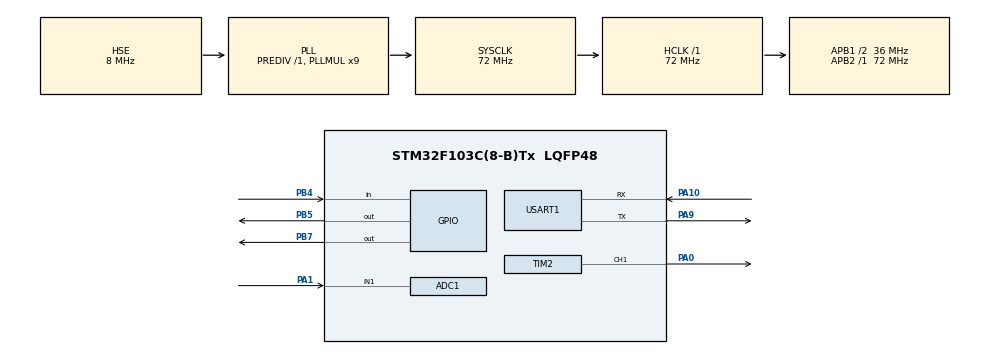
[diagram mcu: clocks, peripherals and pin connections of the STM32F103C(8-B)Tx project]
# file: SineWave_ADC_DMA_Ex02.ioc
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ADC1.Channel-0\#ChannelRegularConversion=ADC_CHANNEL_1
ADC1.ExternalTrigConv=ADC_EXTERNALTRIGCONV_T4_CC4
ADC1.NbrOfConversion=1
ADC1.NbrOfConversionFlag=1
ADC1.Rank-0\#ChannelRegularConversion=1
ADC1.SamplingTime-0\#ChannelRegularConversion=ADC_SAMPLETIME_13CYCLES_5
ADC1.master=1
Dma.ADC1.0.Direction=DMA_PERIPH_TO_MEMORY
Dma.ADC1.0.Instance=DMA1_Channel1
Dma.ADC1.0.MemDataAlignment=DMA_MDATAALIGN_WORD
Dma.ADC1.0.MemInc=DMA_MINC_ENABLE
Dma.ADC1.0.Mode=DMA_CIRCULAR
Dma.ADC1.0.PeriphDataAlignment=DMA_PDATAALIGN_WORD
Dma.ADC1.0.PeriphInc=DMA_PINC_DISABLE
Dma.ADC1.0.Priority=DMA_PRIORITY_HIGH
Dma.Request0=ADC1
Dma.Request1=TIM4_UP
Dma.TIM4_UP.1.Direction=DMA_MEMORY_TO_PERIPH
Dma.TIM4_UP.1.Instance=DMA1_Channel7
Dma.TIM4_UP.1.MemDataAlignment=DMA_MDATAALIGN_WORD
Dma.TIM4_UP.1.MemInc=DMA_MINC_ENABLE
Dma.TIM4_UP.1.Mode=DMA_CIRCULAR
Dma.TIM4_UP.1.PeriphDataAlignment=DMA_PDATAALIGN_WORD
Dma.TIM4_UP.1.PeriphInc=DMA_PINC_DISABLE
Dma.TIM4_UP.1.Priority=DMA_PRIORITY_VERY_HIGH
Mcu.Family=STM32F1
Mcu.Name=STM32F103C(8-B)Tx
Mcu.Package=LQFP48
NVIC.DMA1_Channel1_IRQn=true\:0\:0\:false\:false\:true\:false\:true\:true
NVIC.DMA1_Channel7_IRQn=true\:0\:0\:false\:false\:true\:false\:true\:true
NVIC.PriorityGroup=NVIC_PRIORITYGROUP_4
PA0-WKUP.Signal=S_TIM2_CH1_ETR
PA1.Signal=ADCx_IN1
PA10.Mode=Asynchronous
PA10.Signal=USART1_RX
PA9.Mode=Asynchronous
PA9.Signal=USART1_TX
PB4.GPIO_PuPd=GPIO_PULLUP
PB4.Signal=GPIO_Input
PB5.Signal=GPIO_Output
PB7.Signal=GPIO_Output
PD0-OSC_IN.Mode=HSE-External-Oscillator
PD0-OSC_IN.Signal=RCC_OSC_IN
PD1-OSC_OUT.Mode=HSE-External-Oscillator
PD1-OSC_OUT.Signal=RCC_OSC_OUT
ProjectManager.HeapSize=0x200
ProjectManager.StackSize=0x400
ProjectManager.TargetToolchain=STM32CubeIDE
RCC.ADCPresc=RCC_ADCPCLK2_DIV6
RCC.AHBFreq_Value=72000000
RCC.APB1CLKDivider=RCC_HCLK_DIV2
RCC.APB1Freq_Value=36000000
RCC.APB1TimFreq_Value=72000000
RCC.APB2Freq_Value=72000000
RCC.APB2TimFreq_Value=72000000
RCC.HCLKFreq_Value=72000000
RCC.PLLMUL=RCC_PLL_MUL9
RCC.PLLSourceVirtual=RCC_PLLSOURCE_HSE
RCC.SYSCLKFreq_VALUE=72000000
RCC.SYSCLKSource=RCC_SYSCLKSOURCE_PLLCLK
RCC.USBFreq_Value=72000000
SH.ADCx_IN1.0=ADC1_IN1,IN1
SH.S_TIM2_CH1_ETR.0=TIM2_CH1,PWM Generation1 CH1
TIM2.AutoReloadPreload=TIM_AUTORELOAD_PRELOAD_ENABLE
TIM2.Channel-PWM\ Generation1\ CH1=TIM_CHANNEL_1
TIM2.Period=255
TIM4.Channel-PWM\ Generation4\ No\ Output=TIM_CHANNEL_4
TIM4.OCMode_PWM-PWM\ Generation4\ No\ Output=TIM_OCMODE_PWM2
TIM4.Period=768-1
TIM4.Pulse-PWM\ Generation4\ No\ Output=513
TIM4.TIM_MasterOutputTrigger=TIM_TRGO_OC4REF
USART1.VirtualMode=VM_ASYNC
VP_TIM2_VS_ClockSourceINT.Mode=Internal
VP_TIM4_VS_ClockSourceINT.Mode=Internal
VP_TIM4_VS_no_output4.Mode=PWM Generation4 No Output
board=custom

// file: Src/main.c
/* USER CODE BEGIN Header */
/**
  ******************************************************************************
  * @file           : main.c
  * @brief          : Main program body
  ******************************************************************************
  * @attention
  *
  * Copyright (c) 2022 STMicroelectronics.
  * All rights reserved.
  *
  * This software is licensed under terms that can be found in the LICENSE file
  * in the root directory of this software component.
  * If no LICENSE file comes with this software, it is provided AS-IS.
  *
  ******************************************************************************
  */
/* USER CODE END Header */
#include "main.h"

/* USER CODE BEGIN Includes */
#include <stdbool.h>
/* USER CODE END Includes */

/* USER CODE BEGIN PM */
#define Ns 128
#define BUFLEN 128

uint32_t DestAddress = (uint32_t)&(TIM2->CCR1);

uint32_t Wave[Ns] = {128,134,140,146,152,158,165,170,176,182,188,193,198,203,208,213,218,222,226,
		230,234,237,240,243,245,248,250,251,253,254,254,255,255,255,254,254,253,251,250,248,245,
		243,240,237,234,230,226,222,218,213,208,203,198,193,188,182,176,170,165,158,152,146,140,
		134,128,121,115,109,103,97,90,85,79,73,67,62,57,52,47,42,37,33,29,25,21,18,15,12,10,7,5,
		4,2,1,1,0,0,0,1,1,2,4,5,7,10,12,15,18,21,25,29,33,37,42,47,52,57,62,67,73,79,85,90,97,103,
		109,115,121,128};

uint32_t dmaBuffer[BUFLEN];

bool flag = true;
bool transfer = false;

int i = 0;				// Variável de Iteração
char dados[5];
/* USER CODE END PM */

ADC_HandleTypeDef hadc1;
DMA_HandleTypeDef hdma_adc1;

TIM_HandleTypeDef htim2;
TIM_HandleTypeDef htim4;
DMA_HandleTypeDef hdma_tim4_up;

UART_HandleTypeDef huart1;

void SystemClock_Config(void);
static void MX_GPIO_Init(void);
static void MX_DMA_Init(void);
static void MX_ADC1_Init(void);
static void MX_TIM2_Init(void);
static void MX_TIM4_Init(void);
static void MX_USART1_UART_Init(void);

int main(void)
{

  /* MCU Configuration--------------------------------------------------------*/

  /* Reset of all peripherals, Initializes the Flash interface and the Systick. */
  HAL_Init();

  /* Configure the system clock */
  SystemClock_Config();

  /* Initialize all configured peripherals */
  MX_GPIO_Init();
  MX_DMA_Init();
  MX_ADC1_Init();
  MX_TIM2_Init();
  MX_TIM4_Init();
  MX_USART1_UART_Init();
  /* USER CODE BEGIN 2 */

  // Iniciando TIMERS 2 e 4
  HAL_TIM_Base_Start(&htim2);
  HAL_TIM_Base_Start(&htim4);

  // Iniciando TIMERS 2 e 4 como PWM
  HAL_TIM_PWM_Start(&htim2, TIM_CHANNEL_1);
  HAL_TIM_PWM_Start(&htim4, TIM_CHANNEL_4);

  // Atualização do TIM2_CCR1 via DMA a partir da tabela de seno.
  HAL_DMA_Start_IT(&hdma_tim4_up, (uint32_t)Wave, DestAddress, Ns);
  __HAL_TIM_ENABLE_DMA(&htim4, TIM_DMA_UPDATE);

  // Conversão ADC via DMA
  HAL_ADC_Start_DMA(&hadc1, dmaBuffer, BUFLEN);
  /* USER CODE END 2 */

  /* Infinite loop */
  /* USER CODE BEGIN WHILE */
  while (1)
  {
	// Rotina para ver se um push-button em PB4 foi realmente pressionado
	  if ((HAL_GPIO_ReadPin(GPIOB, GPIO_PIN_4)== 0) && (flag == true)){
		  flag = false;
	  }
	  if ((HAL_GPIO_ReadPin(GPIOB, GPIO_PIN_4)== 1) && (flag == false)){
		  flag = true;
		  transfer = true;
	  }

    /* USER CODE END WHILE */

  }
}

void SystemClock_Config(void)
{
  RCC_OscInitTypeDef RCC_OscInitStruct = {0};
  RCC_ClkInitTypeDef RCC_ClkInitStruct = {0};
  RCC_PeriphCLKInitTypeDef PeriphClkInit = {0};

  /** Initializes the RCC Oscillators according to the specified parameters
  * in the RCC_OscInitTypeDef structure.
  */
  RCC_OscInitStruct.OscillatorType = RCC_OSCILLATORTYPE_HSE;
  RCC_OscInitStruct.HSEState = RCC_HSE_ON;
  RCC_OscInitStruct.HSEPredivValue = RCC_HSE_PREDIV_DIV1;
  RCC_OscInitStruct.HSIState = RCC_HSI_ON;
  RCC_OscInitStruct.PLL.PLLState = RCC_PLL_ON;
  RCC_OscInitStruct.PLL.PLLSource = RCC_PLLSOURCE_HSE;
  RCC_OscInitStruct.PLL.PLLMUL = RCC_PLL_MUL9;
  if (HAL_RCC_OscConfig(&RCC_OscInitStruct) != HAL_OK)
  {
    Error_Handler();
  }

  /** Initializes the CPU, AHB and APB buses clocks
  */
  RCC_ClkInitStruct.ClockType = RCC_CLOCKTYPE_HCLK|RCC_CLOCKTYPE_SYSCLK
                              |RCC_CLOCKTYPE_PCLK1|RCC_CLOCKTYPE_PCLK2;
  RCC_ClkInitStruct.SYSCLKSource = RCC_SYSCLKSOURCE_PLLCLK;
  RCC_ClkInitStruct.AHBCLKDivider = RCC_SYSCLK_DIV1;
  RCC_ClkInitStruct.APB1CLKDivider = RCC_HCLK_DIV2;
  RCC_ClkInitStruct.APB2CLKDivider = RCC_HCLK_DIV1;

  if (HAL_RCC_ClockConfig(&RCC_ClkInitStruct, FLASH_LATENCY_2) != HAL_OK)
  {
    Error_Handler();
  }
  PeriphClkInit.PeriphClockSelection = RCC_PERIPHCLK_ADC;
  PeriphClkInit.AdcClockSelection = RCC_ADCPCLK2_DIV6;
  if (HAL_RCCEx_PeriphCLKConfig(&PeriphClkInit) != HAL_OK)
  {
    Error_Handler();
  }
}

static void MX_ADC1_Init(void)
{

  ADC_ChannelConfTypeDef sConfig = {0};

  /** Common config
  */
  hadc1.Instance = ADC1;
  hadc1.Init.ScanConvMode = ADC_SCAN_DISABLE;
  hadc1.Init.ContinuousConvMode = DISABLE;
  hadc1.Init.DiscontinuousConvMode = DISABLE;
  hadc1.Init.ExternalTrigConv = ADC_EXTERNALTRIGCONV_T4_CC4;
  hadc1.Init.DataAlign = ADC_DATAALIGN_RIGHT;
  hadc1.Init.NbrOfConversion = 1;
  if (HAL_ADC_Init(&hadc1) != HAL_OK)
  {
    Error_Handler();
  }

  /** Configure Regular Channel
  */
  sConfig.Channel = ADC_CHANNEL_1;
  sConfig.Rank = ADC_REGULAR_RANK_1;
  sConfig.SamplingTime = ADC_SAMPLETIME_13CYCLES_5;
  if (HAL_ADC_ConfigChannel(&hadc1, &sConfig) != HAL_OK)
  {
    Error_Handler();
  }

}

static void MX_TIM2_Init(void)
{

  TIM_ClockConfigTypeDef sClockSourceConfig = {0};
  TIM_MasterConfigTypeDef sMasterConfig = {0};
  TIM_OC_InitTypeDef sConfigOC = {0};

  htim2.Instance = TIM2;
  htim2.Init.Prescaler = 0;
  htim2.Init.CounterMode = TIM_COUNTERMODE_UP;
  htim2.Init.Period = 255;
  htim2.Init.ClockDivision = TIM_CLOCKDIVISION_DIV1;
  htim2.Init.AutoReloadPreload = TIM_AUTORELOAD_PRELOAD_ENABLE;
  if (HAL_TIM_Base_Init(&htim2) != HAL_OK)
  {
    Error_Handler();
  }
  sClockSourceConfig.ClockSource = TIM_CLOCKSOURCE_INTERNAL;
  if (HAL_TIM_ConfigClockSource(&htim2, &sClockSourceConfig) != HAL_OK)
  {
    Error_Handler();
  }
  if (HAL_TIM_PWM_Init(&htim2) != HAL_OK)
  {
    Error_Handler();
  }
  sMasterConfig.MasterOutputTrigger = TIM_TRGO_RESET;
  sMasterConfig.MasterSlaveMode = TIM_MASTERSLAVEMODE_DISABLE;
  if (HAL_TIMEx_MasterConfigSynchronization(&htim2, &sMasterConfig) != HAL_OK)
  {
    Error_Handler();
  }
  sConfigOC.OCMode = TIM_OCMODE_PWM1;
  sConfigOC.Pulse = 0;
  sConfigOC.OCPolarity = TIM_OCPOLARITY_HIGH;
  sConfigOC.OCFastMode = TIM_OCFAST_DISABLE;
  if (HAL_TIM_PWM_ConfigChannel(&htim2, &sConfigOC, TIM_CHANNEL_1) != HAL_OK)
  {
    Error_Handler();
  }
  HAL_TIM_MspPostInit(&htim2);

}

static void MX_TIM4_Init(void)
{

  TIM_ClockConfigTypeDef sClockSourceConfig = {0};
  TIM_MasterConfigTypeDef sMasterConfig = {0};
  TIM_OC_InitTypeDef sConfigOC = {0};

  htim4.Instance = TIM4;
  htim4.Init.Prescaler = 0;
  htim4.Init.CounterMode = TIM_COUNTERMODE_UP;
  htim4.Init.Period = 768-1;
  htim4.Init.ClockDivision = TIM_CLOCKDIVISION_DIV1;
  htim4.Init.AutoReloadPreload = TIM_AUTORELOAD_PRELOAD_DISABLE;
  if (HAL_TIM_Base_Init(&htim4) != HAL_OK)
  {
    Error_Handler();
  }
  sClockSourceConfig.ClockSource = TIM_CLOCKSOURCE_INTERNAL;
  if (HAL_TIM_ConfigClockSource(&htim4, &sClockSourceConfig) != HAL_OK)
  {
    Error_Handler();
  }
  if (HAL_TIM_PWM_Init(&htim4) != HAL_OK)
  {
    Error_Handler();
  }
  sMasterConfig.MasterOutputTrigger = TIM_TRGO_OC4REF;
  sMasterConfig.MasterSlaveMode = TIM_MASTERSLAVEMODE_DISABLE;
  if (HAL_TIMEx_MasterConfigSynchronization(&htim4, &sMasterConfig) != HAL_OK)
  {
    Error_Handler();
  }
  sConfigOC.OCMode = TIM_OCMODE_PWM2;
  sConfigOC.Pulse = 513;
  sConfigOC.OCPolarity = TIM_OCPOLARITY_HIGH;
  sConfigOC.OCFastMode = TIM_OCFAST_DISABLE;
  if (HAL_TIM_PWM_ConfigChannel(&htim4, &sConfigOC, TIM_CHANNEL_4) != HAL_OK)
  {
    Error_Handler();
  }

}

static void MX_USART1_UART_Init(void)
{

  huart1.Instance = USART1;
  huart1.Init.BaudRate = 115200;
  huart1.Init.WordLength = UART_WORDLENGTH_8B;
  huart1.Init.StopBits = UART_STOPBITS_1;
  huart1.Init.Parity = UART_PARITY_NONE;
  huart1.Init.Mode = UART_MODE_TX_RX;
  huart1.Init.HwFlowCtl = UART_HWCONTROL_NONE;
  huart1.Init.OverSampling = UART_OVERSAMPLING_16;
  if (HAL_UART_Init(&huart1) != HAL_OK)
  {
    Error_Handler();
  }

}

static void MX_DMA_Init(void)
{

  /* DMA controller clock enable */
  __HAL_RCC_DMA1_CLK_ENABLE();

  /* DMA interrupt init */
  /* DMA1_Channel1_IRQn interrupt configuration */
  HAL_NVIC_SetPriority(DMA1_Channel1_IRQn, 0, 0);
  HAL_NVIC_EnableIRQ(DMA1_Channel1_IRQn);
  /* DMA1_Channel7_IRQn interrupt configuration */
  HAL_NVIC_SetPriority(DMA1_Channel7_IRQn, 0, 0);
  HAL_NVIC_EnableIRQ(DMA1_Channel7_IRQn);

}

static void MX_GPIO_Init(void)
{
  GPIO_InitTypeDef GPIO_InitStruct = {0};

  /* GPIO Ports Clock Enable */
  __HAL_RCC_GPIOD_CLK_ENABLE();
  __HAL_RCC_GPIOA_CLK_ENABLE();
  __HAL_RCC_GPIOB_CLK_ENABLE();

  /*Configure GPIO pin Output Level */
  HAL_GPIO_WritePin(GPIOB, GPIO_PIN_5|GPIO_PIN_7, GPIO_PIN_RESET);

  /*Configure GPIO pin : PB4 */
  GPIO_InitStruct.Pin = GPIO_PIN_4;
  GPIO_InitStruct.Mode = GPIO_MODE_INPUT;
  GPIO_InitStruct.Pull = GPIO_PULLUP;
  HAL_GPIO_Init(GPIOB, &GPIO_InitStruct);

  /*Configure GPIO pins : PB5 PB7 */
  GPIO_InitStruct.Pin = GPIO_PIN_5|GPIO_PIN_7;
  GPIO_InitStruct.Mode = GPIO_MODE_OUTPUT_PP;
  GPIO_InitStruct.Pull = GPIO_NOPULL;
  GPIO_InitStruct.Speed = GPIO_SPEED_FREQ_LOW;
  HAL_GPIO_Init(GPIOB, &GPIO_InitStruct);

}

/* USER CODE BEGIN 4 */
void HAL_ADC_ConvCpltCallback(ADC_HandleTypeDef* hadc1){
HAL_GPIO_TogglePin(GPIOB, GPIO_PIN_7);

if (transfer == true){
	HAL_GPIO_TogglePin(GPIOB, GPIO_PIN_5);
	for (i = 0; i <= BUFLEN; i++){
		  sprintf(dados, "%4d", dmaBuffer[i]);
		  HAL_UART_Transmit(&huart1, dados , 5, 200);
		  HAL_UART_Transmit(&huart1, "\n", 2, 200);
		 }
	transfer = false;
}

}
/* USER CODE END 4 */

void Error_Handler(void)
{
  __disable_irq();
  while (1)
  {
  }
}
